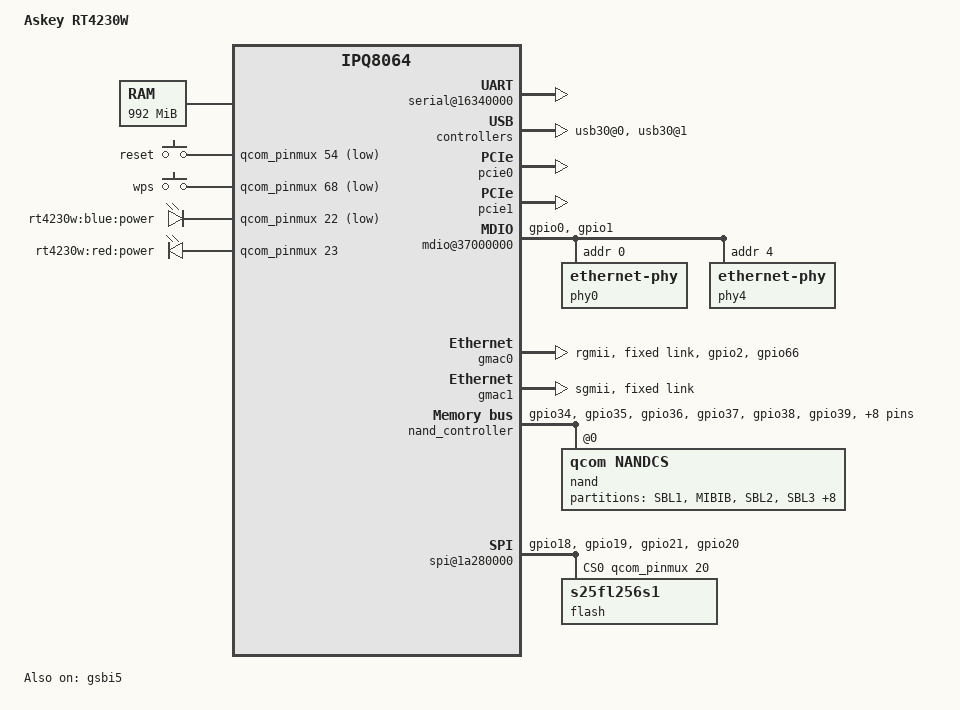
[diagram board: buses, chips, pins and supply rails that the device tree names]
#include "qcom-ipq8065.dtsi"
#include <dt-bindings/input/input.h>

/ {
	model = "Askey RT4230W";
	compatible = "askey,rt4230w", "qcom,ipq8065", "qcom,ipq8064";

	memory@0 {
		reg = <0x42000000 0x3e000000>;
		device_type = "memory";
	};

	reserved-memory {
		#address-cells = <1>;
		#size-cells = <1>;
		ranges;
		rsvd@41200000 {
			reg = <0x41200000 0x300000>;
			no-map;
		};
	};

	aliases {
		serial0 = &gsbi4_serial;
		label-mac-device = &gmac0;
		led-boot = &power_blue;
		led-failsafe = &power_red;
		led-running = &power_blue;
		led-upgrade = &power_red;
	};

	chosen {
		stdout-path = "serial0:115200n8";
	};

	gpio-keys {
		compatible = "gpio-keys";
		pinctrl-0 = <&button_pins>;
		pinctrl-names = "default";

		reset {
			label = "reset";
			gpios = <&qcom_pinmux 54 GPIO_ACTIVE_LOW>;
			linux,code = <KEY_RESTART>;
		};

		wps {
			label = "wps";
			gpios = <&qcom_pinmux 68 GPIO_ACTIVE_LOW>;
			linux,code = <KEY_WPS_BUTTON>;
		};
	};

	gpio-leds {
		compatible = "gpio-leds";
		pinctrl-0 = <&led_pins>;
		pinctrl-names = "default";

		power_blue: power_blue {
			label = "rt4230w:blue:power";
			gpios = <&qcom_pinmux 22 GPIO_ACTIVE_LOW>;
		};

		power_red: power_red {
			label = "rt4230w:red:power";
			gpios = <&qcom_pinmux 23 GPIO_ACTIVE_HIGH>;
		};
	};

	soc {
		pinmux@800000 {
			i2c4_pins: i2c4_pinmux {
				pins = "gpio12", "gpio13";
				function = "gsbi4";
				bias-disable;
			};

			spi_pins: spi_pins {
				mux {
					pins = "gpio18", "gpio19", "gpio21";
					function = "gsbi5";
					drive-strength = <10>;
					bias-none;
				};

				cs {
					pins = "gpio20";
					drive-strength = <12>;
				};
			};

			nand_pins: nand_pins {
				mux {
					pins = "gpio34", "gpio35", "gpio36",
					       "gpio37", "gpio38", "gpio39",
					       "gpio40", "gpio41", "gpio42",
					       "gpio43", "gpio44", "gpio45",
					       "gpio46", "gpio47";
					function = "nand";
					drive-strength = <10>;
					bias-disable;
				};
				pullups {
					pins = "gpio39";
					bias-pull-up;
				};
				hold {
					pins = "gpio40", "gpio41", "gpio42",
					       "gpio43", "gpio44", "gpio45",
					       "gpio46", "gpio47";
					bias-bus-hold;
				};
			};

			mdio0_pins: mdio0_pins {
				mux {
					pins = "gpio0", "gpio1";
					function = "mdio";
					drive-strength = <8>;
					bias-disable;
				};

				clk {
					pins = "gpio1";
					input-disable;
				};
			};

			led_pins: led_pins {
				mux {
					pins = "gpio22", "gpio23";
					function = "gpio";
					drive-strength = <2>;
					bias-pull-up;
				};
			};

			button_pins: button_pins {
				mux {
					pins = "gpio54", "gpio68";
					function = "gpio";
					drive-strength = <2>;
					bias-pull-up;
				};
			};

			rgmii0_pins: rgmii0_pins {
				mux {
					pins = "gpio2", "gpio66";
					drive-strength = <8>;
					bias-disable;
				};
			};
		};

		gsbi@16300000 {
			qcom,mode = <GSBI_PROT_I2C_UART>;
			status = "ok";

			serial@16340000 {
				status = "ok";
			};
			/*
			 * The i2c device on gsbi4 should not be enabled.
			 * On ipq806x designs gsbi4 i2c is meant for exclusive
			 * RPM usage. Turning this on in kernel manifests as
			 * i2c failure for the RPM.
			 */
		};

		phy@100f8800 {		/* USB3 port 1 HS phy */
			status = "ok";
		};

		phy@100f8830 {		/* USB3 port 1 SS phy */
			status = "ok";
		};

		phy@110f8800 {		/* USB3 port 0 HS phy */
			status = "ok";
		};

		phy@110f8830 {		/* USB3 port 0 SS phy */
			status = "ok";
		};

		usb30@0 {
			status = "ok";
		};

		usb30@1 {
			status = "ok";
		};

		pcie0: pci@1b500000 {
			status = "ok";
		};

		pcie1: pci@1b700000 {
			status = "ok";
			force_gen1 = <1>;
		};

		mdio@37000000 {
			status = "okay";

			pinctrl-0 = <&mdio0_pins>;
			pinctrl-names = "default";

			phy0: ethernet-phy@0 {
				reg = <0>;
				qca,ar8327-initvals = <
					0x00004 0x7600000   /* PAD0_MODE */
					0x00008 0x1000000   /* PAD5_MODE */
					0x0000c 0x80        /* PAD6_MODE */
					0x000e4 0xaa545     /* MAC_POWER_SEL */
					0x000e0 0xc74164de  /* SGMII_CTRL */
					0x0007c 0x4e        /* PORT0_STATUS */
					0x00094 0x4e        /* PORT6_STATUS */
					0x00970 0x1e864443  /* QM_PORT0_CTRL0 */
					0x00974 0x000001c6  /* QM_PORT0_CTRL1 */
					0x00978 0x19008643  /* QM_PORT1_CTRL0 */
					0x0097c 0x000001c6  /* QM_PORT1_CTRL1 */
					0x00980 0x19008643  /* QM_PORT2_CTRL0 */
					0x00984 0x000001c6  /* QM_PORT2_CTRL1 */
					0x00988 0x19008643  /* QM_PORT3_CTRL0 */
					0x0098c 0x000001c6  /* QM_PORT3_CTRL1 */
					0x00990 0x19008643  /* QM_PORT4_CTRL0 */
					0x00994 0x000001c6  /* QM_PORT4_CTRL1 */
					0x00998 0x1e864443  /* QM_PORT5_CTRL0 */
					0x0099c 0x000001c6  /* QM_PORT5_CTRL1 */
					0x009a0 0x1e864443  /* QM_PORT6_CTRL0 */
					0x009a4 0x000001c6  /* QM_PORT6_CTRL1 */
					>;
			};

			phy4: ethernet-phy@4 {
				reg = <4>;
				qca,ar8327-initvals = <
					0x000e4 0x6a545     /* MAC_POWER_SEL */
					0x0000c 0x80        /* PAD6_MODE */
					>;
			};
		};

		gmac0: ethernet@37000000 {
			status = "ok";
			phy-mode = "rgmii";
			qcom,id = <0>;
			qcom,phy_mdio_addr = <0>;
			qcom,rgmii_delay = <1>;
			mdiobus = <&mdio0>;

			pinctrl-0 = <&rgmii0_pins>;
			pinctrl-names = "default";

			mtd-mac-address = <&art 0>;

			fixed-link {
				speed = <1000>;
				full-duplex;
			};
		};

		gmac1: ethernet@37200000 {
			status = "ok";
			phy-mode = "sgmii";
			qcom,id = <1>;
			qcom,phy_mdio_addr = <4>;
			mdiobus = <&mdio0>;

			mtd-mac-address = <&art 6>;

			fixed-link {
				speed = <1000>;
				full-duplex;
			};
		};
	};
};

&nand_controller {
	status = "okay";

	pinctrl-0 = <&nand_pins>;
	pinctrl-names = "default";

	nand@0 {
		reg = <0>;
		compatible = "qcom,nandcs";

		nand-ecc-strength = <4>;
		nand-bus-width = <8>;
		nand-ecc-step-size = <512>;

		partitions {
			compatible = "fixed-partitions";
			#address-cells = <1>;
			#size-cells = <1>;

			partition@0 {
				label = "SBL1";
				reg = <0x0000000 0x0040000>;
				read-only;
			};

			partition@40000 {
				label = "MIBIB";
				reg = <0x0040000 0x0140000>;
				read-only;
			};

			partition@180000 {
				label = "SBL2";
				reg = <0x0180000 0x0140000>;
				read-only;
			};

			partition@2c0000 {
				label = "SBL3";
				reg = <0x02c0000 0x0280000>;
				read-only;
			};

			partition@540000 {
				label = "DDRCONFIG";
				reg = <0x0540000 0x0120000>;
				read-only;
			};

			partition@660000 {
				label = "SSD";
				reg = <0x0660000 0x0120000>;
				read-only;
			};

			partition@780000 {
				label = "TZ";
				reg = <0x0780000 0x0280000>;
				read-only;
			};

			partition@a00000 {
				label = "RPM";
				reg = <0x0a00000 0x0280000>;
				read-only;
			};

			art: partition@1200000 {
				label = "ART";
				reg = <0x1200000 0x0140000>;
				read-only;
			};

			partition@2400000 {
				label = "ubi";
				reg = <0x2400000 0x08000000>;
			};

			partition@a400000 {
				label = "rootfs_1";
				reg = <0xa400000 0x08000000>;
			};

			partition@12400000 {
				label = "ubifs";
				reg = <0x12400000 0x0a000000>;
			};
		};
	};
};

&gsbi5 {
	qcom,mode = <GSBI_PROT_SPI>;
	status = "okay";

	spi@1a280000 {
		status = "okay";
		spi-max-frequency = <50000000>;

		pinctrl-0 = <&spi_pins>;
		pinctrl-names = "default";

		cs-gpios = <&qcom_pinmux 20 GPIO_ACTIVE_HIGH>;

		flash@0 {
			compatible = "s25fl256s1";
			#address-cells = <1>;
			#size-cells = <1>;
			reg = <0>;
		};
	};
};

&adm_dma {
	status = "ok";
};
